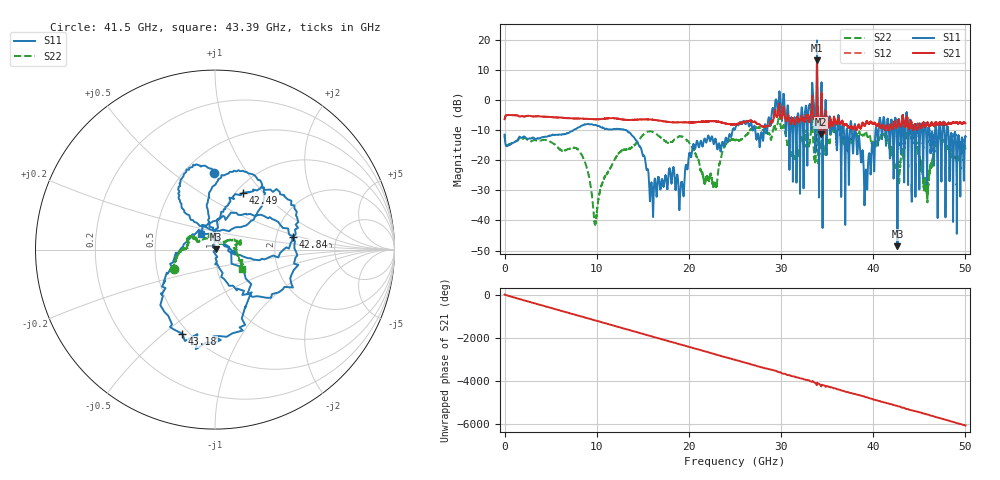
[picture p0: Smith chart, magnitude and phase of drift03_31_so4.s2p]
!Created with skrf (http://scikit-rf.org).
# Hz S RI R 50.0
!freq ReS11 ImS11 ReS21 ImS21 ReS12 ImS12 ReS22 ImS22
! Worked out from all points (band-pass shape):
!   10001 points, 300 kHz to 50 GHz, reference 50 ohm
!   highest |S21| = 13.08 dB at 33.9 GHz (marker M1); lowest = -11.5 dB at 34.32 GHz (marker M2)
!   |S21| within 3 dB of the highest: 33.89027 GHz to 33.9054 GHz (15.13 MHz wide, 0.0446 % of centre)
!   lowest |S11| = -48.6 dB at 42.63 GHz (marker M3), VSWR 1.01, Z = 50.3 + j0.177 ohm
!   |S11| at or under -10 dB: start of sweep to 7.488 GHz; 13.13 GHz to 24.74 GHz (11.61 GHz wide, 61.3 % of centre); 38.09 GHz to 40.26 GHz (2.167 GHz wide, 5.53 % of centre) (the widest 3 of 51)
!   |S22| runs from -41.5 to 5.5 dB; largest |S21 - S12| = 0.32
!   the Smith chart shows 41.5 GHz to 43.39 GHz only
!   S11 on the Smith chart (normalised r, x): 41.5 GHz: 0.68, +0.71; 42.49 GHz: 1.08, +0.78; 42.84 GHz: 2.49, +0.45; 43.18 GHz: 0.46, -0.58; 43.39 GHz: 0.85, +0.15
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300000  -0.237 -0.1182  0.4679 0.0796  0.4659 0.0786  -0.2363 -0.1247
1.440291e9  0.2101 0.0647  -0.5479 -0.0295  -0.5482 -0.0291  0.2112 -0.00442
2.915283e9  -0.2123 -0.088  0.5345 0.0511  0.5345 0.051  -0.2024 0.0402
4.415274e9  0.2063 0.1323  -0.5216 -0.0421  -0.5219 -0.0419  0.1977 -0.0873
8.33525e9  0.2885 -0.2338  0.1468 0.4658  0.1466 0.4662  -0.073 -0.1012
9.845241e9  -0.3634 0.129  -0.1484 -0.4521  -0.1486 -0.452  0.00851 0.00246
1.66702e10  0.0274 0.0439  -0.3774 0.2535  -0.3781 0.2539  -0.1271 -0.219
2.500015e10  -0.3261 -0.0143  -0.2558 -0.2972  -0.2537 -0.2981  -0.2138 0.0277
2.895513e10  -0.3253 0.4335  -0.2882 0.3264  -0.2981 0.2908  0.0652 0.2212
3.006512e10  0.3998 0.2628  0.4493 -0.1976  0.4523 -0.1834  0.1725 -0.298
3.171011e10  -0.0906 0.1861  -0.3613 0.359  -0.3595 0.3551  0.0656 0.1581
3.33351e10  0.635 -0.814  0.2522 -0.8483  0.255 -0.8268  -0.1932 -0.4241
3.38951e10  -2.297 -9.388  -4.446 0.7421  -4.177 0.9189  0.4802 1.824
3.432009e10  -0.7788 0.000182  -0.1792 0.1982  -0.2416 0.1784  0.143 -0.0719
4.150005e10  -0.00772 0.4257  0.3336 0.1344  0.3375 0.1351  -0.2266 -0.1073
4.167005e10  -0.1982 0.3027  0.3143 0.00286  0.3152 0.00861  -0.1885 -0.00808
4.248505e10  0.1575 0.3179  0.00902 -0.3501  0.00955 -0.3517  -0.0293 0.0699
4.263004e10  0.00329 0.00176  -0.1694 -0.3392  -0.1638 -0.3431  -0.0223 0.0901
4.283504e10  0.4365 0.0729  -0.2544 -0.3171  -0.2524 -0.3214  0.0388 0.0334
4.318004e10  -0.1815 -0.4692  -0.5225 0.0718  -0.5225 0.0641  0.1264 0.0343
4.339004e10  -0.0755 0.0847  -0.3411 0.1718  -0.3353 0.1706  0.153 -0.1089
5e10  -0.1169 -0.2172  0.1442 0.3831  0.1446 0.3836  -0.0569 -0.1442
